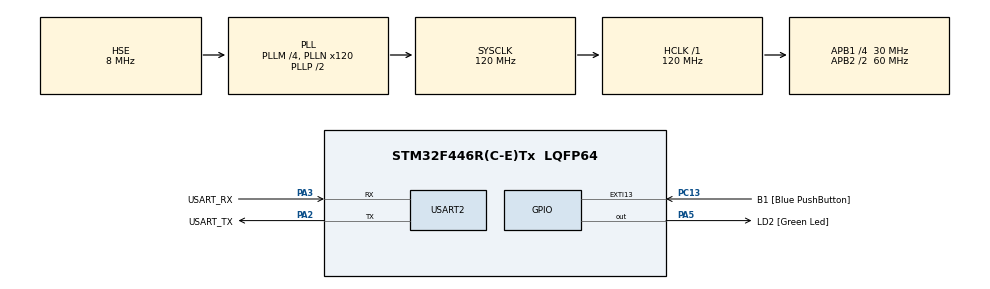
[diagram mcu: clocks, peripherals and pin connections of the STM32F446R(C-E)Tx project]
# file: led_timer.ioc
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Mcu.Family=STM32F4
Mcu.Name=STM32F446R(C-E)Tx
Mcu.Package=LQFP64
NVIC.PriorityGroup=NVIC_PRIORITYGROUP_0
NVIC.TIM3_IRQn=true\:0\:0\:false\:false\:true\:true\:true\:true
NVIC.TIM4_IRQn=true\:0\:0\:false\:false\:true\:true\:true\:true
PA13.GPIO_Label=TMS
PA13.Mode=Serial_Wire
PA13.Signal=SYS_JTMS-SWDIO
PA14.GPIO_Label=TCK
PA14.Mode=Serial_Wire
PA14.Signal=SYS_JTCK-SWCLK
PA2.GPIO_Label=USART_TX
PA2.Mode=Asynchronous
PA2.Signal=USART2_TX
PA3.GPIO_Label=USART_RX
PA3.Mode=Asynchronous
PA3.Signal=USART2_RX
PA5.GPIO_Label=LD2 [Green Led]
PA5.Signal=GPIO_Output
PB3.GPIO_Label=SWO
PB3.Signal=SYS_JTDO-SWO
PC13.GPIO_Label=B1 [Blue PushButton]
PC13.GPIO_ModeDefaultEXTI=GPIO_MODE_IT_FALLING
PC13.Signal=GPXTI13
PC14-OSC32_IN.Signal=RCC_OSC32_IN
PC15-OSC32_OUT.Signal=RCC_OSC32_OUT
PH0-OSC_IN.Mode=HSE-External-Oscillator
PH0-OSC_IN.Signal=RCC_OSC_IN
PH1-OSC_OUT.Mode=HSE-External-Oscillator
PH1-OSC_OUT.Signal=RCC_OSC_OUT
ProjectManager.HeapSize=0x200
ProjectManager.StackSize=0x400
ProjectManager.TargetToolchain=STM32CubeIDE
RCC.48MHZClocksFreq_Value=84000000
RCC.AHBFreq_Value=120000000
RCC.APB1CLKDivider=RCC_HCLK_DIV4
RCC.APB1Freq_Value=30000000
RCC.APB1TimFreq_Value=60000000
RCC.APB2CLKDivider=RCC_HCLK_DIV2
RCC.APB2Freq_Value=60000000
RCC.APB2TimFreq_Value=120000000
RCC.CortexFreq_Value=120000000
RCC.FLatency-AdvancedSettings=FLASH_LATENCY_3
RCC.HCLKFreq_Value=120000000
RCC.HSE_VALUE=8000000
RCC.HSI_VALUE=16000000
RCC.PLLM=4
RCC.PLLN=120
RCC.PLLSourceVirtual=RCC_PLLSOURCE_HSE
RCC.SYSCLKFreq_VALUE=120000000
RCC.SYSCLKSource=RCC_SYSCLKSOURCE_PLLCLK
RCC.USBFreq_Value=120000000
RCC.VCOOutputFreq_Value=240000000
TIM3.Period=10000-1
TIM3.Prescaler=12000-1
TIM4.Period=20000-1
TIM4.Prescaler=12000-1
USART2.VirtualMode=VM_ASYNC
VP_TIM3_VS_ClockSourceINT.Mode=Internal
VP_TIM4_VS_ClockSourceINT.Mode=Internal
board=NUCLEO-F446RE

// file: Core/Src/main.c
/* USER CODE BEGIN Header */
/**
  ******************************************************************************
  * @file           : main.c
  * @brief          : Main program body
  ******************************************************************************
  * @attention
  *
  * Copyright (c) 2026 STMicroelectronics.
  * All rights reserved.
  *
  * This software is licensed under terms that can be found in the LICENSE file
  * in the root directory of this software component.
  * If no LICENSE file comes with this software, it is provided AS-IS.
  *
  ******************************************************************************
  */
/* USER CODE END Header */
#include "main.h"

TIM_HandleTypeDef htim3;
TIM_HandleTypeDef htim4;

UART_HandleTypeDef huart2;

/* USER CODE BEGIN PV */
volatile uint8_t counter= 0;

/* USER CODE END PV */

void SystemClock_Config(void);
static void MX_GPIO_Init(void);
static void MX_TIM3_Init(void);
static void MX_USART2_UART_Init(void);
static void MX_TIM4_Init(void);
/* USER CODE BEGIN PFP */
void HAL_TIM_PeriodElapsedCallback(TIM_HandleTypeDef *htim);

/* USER CODE END PFP */

int main(void)
{

  /* MCU Configuration--------------------------------------------------------*/

  /* Reset of all peripherals, Initializes the Flash interface and the Systick. */
  HAL_Init();

  /* Configure the system clock */
  SystemClock_Config();

  /* Initialize all configured peripherals */
  MX_GPIO_Init();
  MX_TIM3_Init();
  MX_USART2_UART_Init();
  MX_TIM4_Init();
  /* USER CODE BEGIN 2 */

  HAL_TIM_Base_Start_IT(&htim3);

  /* USER CODE END 2 */

  /* Infinite loop */
  while (1)
  {

  }
}

void SystemClock_Config(void)
{
  RCC_OscInitTypeDef RCC_OscInitStruct = {0};
  RCC_ClkInitTypeDef RCC_ClkInitStruct = {0};

  /** Configure the main internal regulator output voltage
  */
  __HAL_RCC_PWR_CLK_ENABLE();
  __HAL_PWR_VOLTAGESCALING_CONFIG(PWR_REGULATOR_VOLTAGE_SCALE3);

  /** Initializes the RCC Oscillators according to the specified parameters
  * in the RCC_OscInitTypeDef structure.
  */
  RCC_OscInitStruct.OscillatorType = RCC_OSCILLATORTYPE_HSE;
  RCC_OscInitStruct.HSEState = RCC_HSE_ON;
  RCC_OscInitStruct.PLL.PLLState = RCC_PLL_ON;
  RCC_OscInitStruct.PLL.PLLSource = RCC_PLLSOURCE_HSE;
  RCC_OscInitStruct.PLL.PLLM = 4;
  RCC_OscInitStruct.PLL.PLLN = 120;
  RCC_OscInitStruct.PLL.PLLP = RCC_PLLP_DIV2;
  RCC_OscInitStruct.PLL.PLLQ = 2;
  RCC_OscInitStruct.PLL.PLLR = 2;
  if (HAL_RCC_OscConfig(&RCC_OscInitStruct) != HAL_OK)
  {
    Error_Handler();
  }

  /** Initializes the CPU, AHB and APB buses clocks
  */
  RCC_ClkInitStruct.ClockType = RCC_CLOCKTYPE_HCLK|RCC_CLOCKTYPE_SYSCLK
                              |RCC_CLOCKTYPE_PCLK1|RCC_CLOCKTYPE_PCLK2;
  RCC_ClkInitStruct.SYSCLKSource = RCC_SYSCLKSOURCE_PLLCLK;
  RCC_ClkInitStruct.AHBCLKDivider = RCC_SYSCLK_DIV1;
  RCC_ClkInitStruct.APB1CLKDivider = RCC_HCLK_DIV4;
  RCC_ClkInitStruct.APB2CLKDivider = RCC_HCLK_DIV2;

  if (HAL_RCC_ClockConfig(&RCC_ClkInitStruct, FLASH_LATENCY_3) != HAL_OK)
  {
    Error_Handler();
  }
}

static void MX_TIM3_Init(void)
{

  TIM_ClockConfigTypeDef sClockSourceConfig = {0};
  TIM_MasterConfigTypeDef sMasterConfig = {0};

  htim3.Instance = TIM3;
  htim3.Init.Prescaler = 12000-1;
  htim3.Init.CounterMode = TIM_COUNTERMODE_UP;
  htim3.Init.Period = 10000-1;
  htim3.Init.ClockDivision = TIM_CLOCKDIVISION_DIV1;
  htim3.Init.AutoReloadPreload = TIM_AUTORELOAD_PRELOAD_DISABLE;
  if (HAL_TIM_Base_Init(&htim3) != HAL_OK)
  {
    Error_Handler();
  }
  sClockSourceConfig.ClockSource = TIM_CLOCKSOURCE_INTERNAL;
  if (HAL_TIM_ConfigClockSource(&htim3, &sClockSourceConfig) != HAL_OK)
  {
    Error_Handler();
  }
  sMasterConfig.MasterOutputTrigger = TIM_TRGO_RESET;
  sMasterConfig.MasterSlaveMode = TIM_MASTERSLAVEMODE_DISABLE;
  if (HAL_TIMEx_MasterConfigSynchronization(&htim3, &sMasterConfig) != HAL_OK)
  {
    Error_Handler();
  }

}

static void MX_TIM4_Init(void)
{

  TIM_ClockConfigTypeDef sClockSourceConfig = {0};
  TIM_MasterConfigTypeDef sMasterConfig = {0};

  htim4.Instance = TIM4;
  htim4.Init.Prescaler = 12000-1;
  htim4.Init.CounterMode = TIM_COUNTERMODE_UP;
  htim4.Init.Period = 20000-1;
  htim4.Init.ClockDivision = TIM_CLOCKDIVISION_DIV1;
  htim4.Init.AutoReloadPreload = TIM_AUTORELOAD_PRELOAD_DISABLE;
  if (HAL_TIM_Base_Init(&htim4) != HAL_OK)
  {
    Error_Handler();
  }
  sClockSourceConfig.ClockSource = TIM_CLOCKSOURCE_INTERNAL;
  if (HAL_TIM_ConfigClockSource(&htim4, &sClockSourceConfig) != HAL_OK)
  {
    Error_Handler();
  }
  sMasterConfig.MasterOutputTrigger = TIM_TRGO_RESET;
  sMasterConfig.MasterSlaveMode = TIM_MASTERSLAVEMODE_DISABLE;
  if (HAL_TIMEx_MasterConfigSynchronization(&htim4, &sMasterConfig) != HAL_OK)
  {
    Error_Handler();
  }

}

static void MX_USART2_UART_Init(void)
{

  huart2.Instance = USART2;
  huart2.Init.BaudRate = 115200;
  huart2.Init.WordLength = UART_WORDLENGTH_8B;
  huart2.Init.StopBits = UART_STOPBITS_1;
  huart2.Init.Parity = UART_PARITY_NONE;
  huart2.Init.Mode = UART_MODE_TX_RX;
  huart2.Init.HwFlowCtl = UART_HWCONTROL_NONE;
  huart2.Init.OverSampling = UART_OVERSAMPLING_16;
  if (HAL_UART_Init(&huart2) != HAL_OK)
  {
    Error_Handler();
  }

}

static void MX_GPIO_Init(void)
{
  GPIO_InitTypeDef GPIO_InitStruct = {0};

  /* GPIO Ports Clock Enable */
  __HAL_RCC_GPIOC_CLK_ENABLE();
  __HAL_RCC_GPIOH_CLK_ENABLE();
  __HAL_RCC_GPIOA_CLK_ENABLE();
  __HAL_RCC_GPIOB_CLK_ENABLE();

  /*Configure GPIO pin Output Level */
  HAL_GPIO_WritePin(LD2_GPIO_Port, LD2_Pin, GPIO_PIN_RESET);

  /*Configure GPIO pin : B1_Pin */
  GPIO_InitStruct.Pin = B1_Pin;
  GPIO_InitStruct.Mode = GPIO_MODE_IT_FALLING;
  GPIO_InitStruct.Pull = GPIO_NOPULL;
  HAL_GPIO_Init(B1_GPIO_Port, &GPIO_InitStruct);

  /*Configure GPIO pin : LD2_Pin */
  GPIO_InitStruct.Pin = LD2_Pin;
  GPIO_InitStruct.Mode = GPIO_MODE_OUTPUT_PP;
  GPIO_InitStruct.Pull = GPIO_NOPULL;
  GPIO_InitStruct.Speed = GPIO_SPEED_FREQ_LOW;
  HAL_GPIO_Init(LD2_GPIO_Port, &GPIO_InitStruct);

}

/* USER CODE BEGIN 4 */

void HAL_TIM_PeriodElapsedCallback(TIM_HandleTypeDef *htim){

	if(htim==&htim3){

		counter++;
			HAL_GPIO_TogglePin(GPIOA, GPIO_PIN_5);
		if(counter>=5){
			HAL_TIM_Base_Stop_IT(&htim3);
			HAL_TIM_Base_Start_IT(&htim4);
			counter=0;

		}

	}
	else if(htim==&htim4){

		counter++;

		HAL_GPIO_TogglePin(GPIOA, GPIO_PIN_5);

	if(counter>=10)
{
		HAL_TIM_Base_Stop_IT(&htim4);

		}
	}
}

/* USER CODE END 4 */

void Error_Handler(void)
{
  __disable_irq();
  while (1)
  {
  }
}
